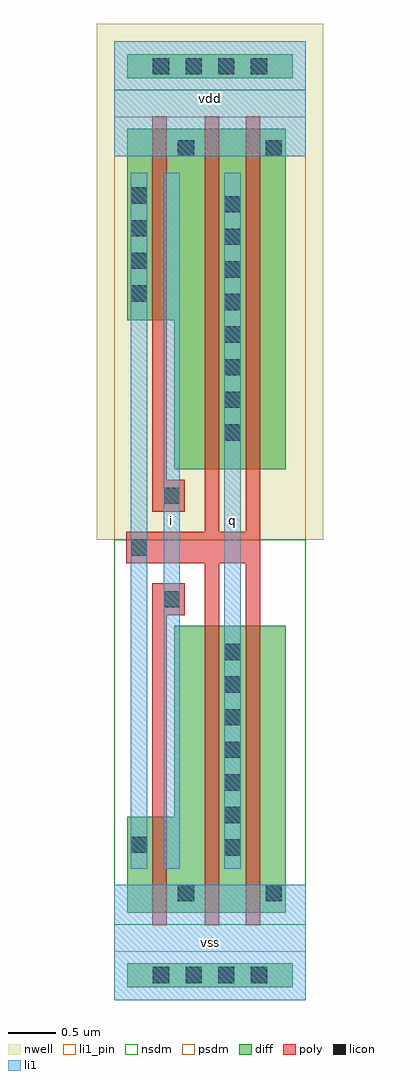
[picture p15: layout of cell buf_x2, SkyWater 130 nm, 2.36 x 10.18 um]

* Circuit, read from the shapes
.subckt buf_x2 i q vdd vss
XM1 vss i n1 VSUBS sky130_fd_pr__nfet_01v8 w=1 l=0.15
XM2 q n1 vss VSUBS sky130_fd_pr__nfet_01v8 w=2.995 l=0.15 m=2
XM3 vdd i n1 n2 sky130_fd_pr__pfet_01v8 w=2 l=0.15
XM4 q n1 vdd n2 sky130_fd_pr__pfet_01v8 w=3.555 l=0.15 m=2
.ends

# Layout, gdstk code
import gdstk
lib = gdstk.Library(unit=1e-6, precision=1e-09)
def R(c, l, rs):  # rectangles x0, y0, x1, y1
    for r in rs: c.add(gdstk.rectangle(r[:2], r[2:], *l))
def A(c, l, x, y, w, h, nx, ny, dx, dy):  # array of equal rectangles
    R(c, l, [(x+i*dx, y+j*dy, x+i*dx+w, y+j*dy+h) for i in range(nx) for j in range(ny)])
def P(c, l, *ps):  # polygons
    for p in ps: c.add(gdstk.Polygon(p, *l))
nwell = (64, 20)
diff = (65, 20)
poly = (66, 20)
licon = (66, 44)
li1_pin = (67, 16)
li1 = (67, 20)
nsdm = (93, 44)
psdm = (94, 20)

buf_x2 = lib.new_cell('buf_x2')
R(buf_x2, nwell, [(-0.18,4.8,2.18,10.18)])
R(buf_x2, diff, [(0.135,0.135,1.865,0.385), (0.135,9.615,1.865,9.865)])
P(buf_x2, diff, [(0.135,0.91),(0.135,1.91),(0.625,1.91),(0.625,3.905),(1.79,3.905),(1.79,0.91)],
  [(0.625,5.535),(0.625,7.09),(0.135,7.09),(0.135,9.09),(1.79,9.09),(1.79,5.535)])
P(buf_x2, poly, [(0.945,0.78),(0.945,4.555),(0.125,4.555),(0.125,4.885),(0.945,4.885),(0.945,9.22),(1.095,9.22),(1.095,4.885),(1.375,4.885),(1.375,9.22),(1.525,9.22),(1.525,0.78),(1.375,0.78),(1.375,4.555),(1.095,4.555),(1.095,0.78)],
  [(0.4,0.78),(0.4,4.345),(0.735,4.345),(0.735,4.015),(0.55,4.015),(0.55,0.78)],
  [(0.4,5.095),(0.4,9.22),(0.55,9.22),(0.55,5.425),(0.735,5.425),(0.735,5.095)])
A(buf_x2, licon, 0.405, 0.175, 0.17, 0.17, 4, 2, 0.34, 9.48)
A(buf_x2, licon, 1.15, 1.505, 0.17, 0.17, 1, 7, 0, 0.34)
A(buf_x2, licon, 1.15, 5.835, 0.17, 0.17, 1, 8, 0, 0.34)
A(buf_x2, licon, 0.175, 7.285, 0.17, 0.17, 1, 4, 0, 0.34)
R(buf_x2, licon, [(0.665,1.03,0.835,1.2), (1.58,1.03,1.75,1.2), (0.175,1.535,0.345,1.705), (0.515,4.095,0.685,4.265), (0.175,4.635,0.345,4.805), (0.515,5.175,0.685,5.345), (0.665,8.8,0.835,8.97), (1.58,8.8,1.75,8.97)])
R(buf_x2, li1_pin, [(0,0,2,1.2), (0.515,1.37,0.685,8.63), (1.15,1.37,1.32,8.63), (0,8.8,2,10)])
R(buf_x2, li1, [(0,0,2,1.2), (0.175,1.37,0.345,8.63), (0.515,1.37,0.685,8.63), (1.15,1.37,1.32,8.63), (0,8.8,2,10)])
R(buf_x2, nsdm, [(0,0.785,2,4.8), (0,9.49,2,10)])
R(buf_x2, psdm, [(0,0,2,0.51), (0,4.8,2,9.215)])
buf_x2.add(gdstk.Label('vdd', (1,9.4), layer=67, texttype=16))
buf_x2.add(gdstk.Label('vss', (1,0.6), layer=67, texttype=16))
buf_x2.add(gdstk.Label('i', (0.6,5), layer=67, texttype=16))
buf_x2.add(gdstk.Label('q', (1.235,5), layer=67, texttype=16))

lib.write_gds('buf_x2.gds')
